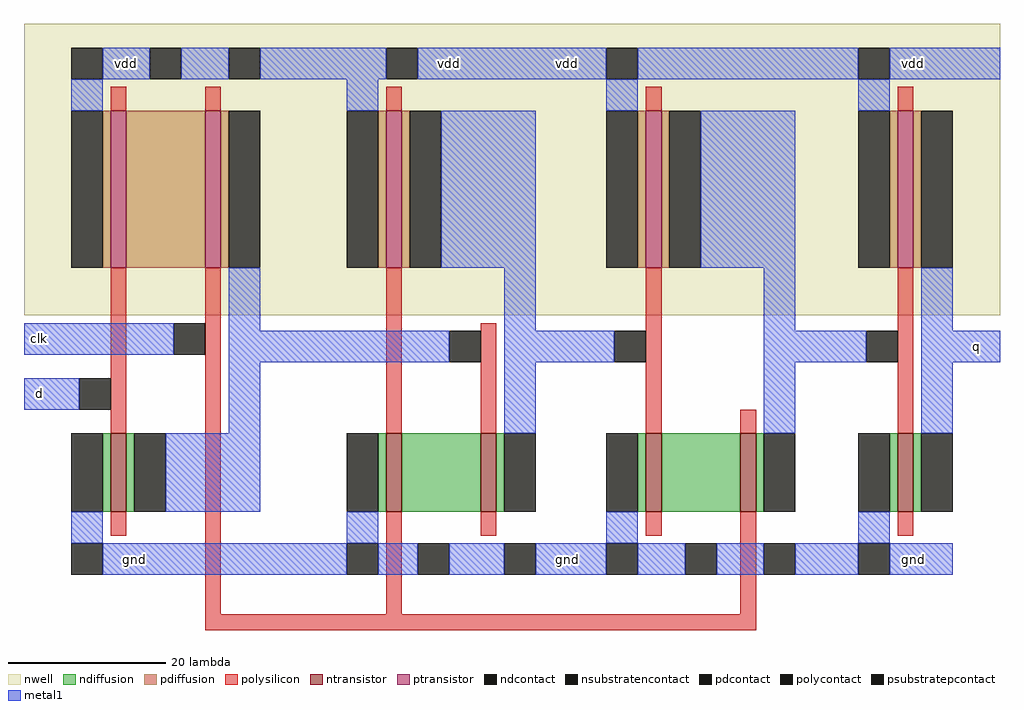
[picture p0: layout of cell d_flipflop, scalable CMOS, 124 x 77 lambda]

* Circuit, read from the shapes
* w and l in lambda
.subckt d_flipflop clk d gnd q vdd
M1 n1 d gnd gnd nfet w=10 l=2
M2 n2 clk gnd gnd nfet w=10 l=2
M3 n3 n1 n2 gnd nfet w=10 l=2
M4 n4 n3 gnd gnd nfet w=10 l=2
M5 n5 clk n4 gnd nfet w=10 l=2
M6 q n5 gnd gnd nfet w=10 l=2
M7 n6 d vdd vdd pfet w=20 l=2
M8 n1 clk n6 vdd pfet w=20 l=2
M9 n3 clk vdd vdd pfet w=20 l=2
M10 n5 n3 vdd vdd pfet w=20 l=2
M11 q n5 vdd vdd pfet w=20 l=2
.ends

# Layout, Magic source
magic
tech scmos
<< nwell >>
rect -21 -14 103 23
<< ntransistor >>
rect -10 -39 -8 -29
rect 25 -39 27 -29
rect 37 -39 39 -29
rect 58 -39 60 -29
rect 70 -39 72 -29
rect 90 -39 92 -29
<< ptransistor >>
rect -10 -8 -8 12
rect 2 -8 4 12
rect 25 -8 27 12
rect 58 -8 60 12
rect 90 -8 92 12
<< ndiffusion >>
rect -11 -39 -10 -29
rect -8 -39 -7 -29
rect 24 -39 25 -29
rect 27 -39 37 -29
rect 39 -39 40 -29
rect 57 -39 58 -29
rect 60 -39 70 -29
rect 72 -39 73 -29
rect 89 -39 90 -29
rect 92 -39 93 -29
<< pdiffusion >>
rect -11 -8 -10 12
rect -8 -8 2 12
rect 4 -8 5 12
rect 24 -8 25 12
rect 27 -8 28 12
rect 57 -8 58 12
rect 60 -8 61 12
rect 89 -8 90 12
rect 92 -8 93 12
<< ndcontact >>
rect -15 -39 -11 -29
rect -7 -39 -3 -29
rect 20 -39 24 -29
rect 40 -39 44 -29
rect 53 -39 57 -29
rect 73 -39 77 -29
rect 85 -39 89 -29
rect 93 -39 97 -29
<< pdcontact >>
rect -15 -8 -11 12
rect 5 -8 9 12
rect 20 -8 24 12
rect 28 -8 32 12
rect 53 -8 57 12
rect 61 -8 65 12
rect 85 -8 89 12
rect 93 -8 97 12
<< psubstratepcontact >>
rect -15 -47 -11 -43
rect 20 -47 24 -43
rect 29 -47 33 -43
rect 40 -47 44 -43
rect 53 -47 57 -43
rect 63 -47 67 -43
rect 73 -47 77 -43
rect 85 -47 89 -43
<< nsubstratencontact >>
rect -15 16 -11 20
rect -5 16 -1 20
rect 5 16 9 20
rect 25 16 29 20
rect 53 16 57 20
rect 85 16 89 20
<< polysilicon >>
rect -10 12 -8 15
rect 2 12 4 15
rect 25 12 27 15
rect 58 12 60 15
rect 90 12 92 15
rect -10 -29 -8 -8
rect -10 -42 -8 -39
rect 2 -52 4 -8
rect 25 -29 27 -8
rect 37 -29 39 -15
rect 58 -29 60 -8
rect 70 -29 72 -26
rect 90 -29 92 -8
rect 25 -52 27 -39
rect 37 -42 39 -39
rect 58 -42 60 -39
rect 70 -52 72 -39
rect 90 -42 92 -39
rect 2 -54 72 -52
<< polycontact >>
rect -14 -26 -10 -22
rect -2 -19 2 -15
rect 33 -20 37 -16
rect 54 -20 58 -16
rect 86 -20 90 -16
<< metal1 >>
rect -11 16 -5 20
rect -1 16 5 20
rect 9 16 25 20
rect 29 16 53 20
rect 57 16 85 20
rect 89 16 103 20
rect -15 12 -11 16
rect 20 12 24 16
rect 53 12 57 16
rect 85 12 89 16
rect 32 -8 44 12
rect 65 -8 77 12
rect -21 -19 -2 -15
rect 5 -16 9 -8
rect 40 -16 44 -8
rect 73 -16 77 -8
rect 93 -16 97 -8
rect 5 -20 33 -16
rect 40 -20 54 -16
rect 73 -20 86 -16
rect 93 -20 103 -16
rect -21 -26 -14 -22
rect 5 -29 9 -20
rect 40 -29 44 -20
rect 73 -29 77 -20
rect 93 -29 97 -20
rect -3 -39 9 -29
rect -15 -43 -11 -39
rect 20 -43 24 -39
rect 53 -43 57 -39
rect 85 -43 89 -39
rect -11 -47 20 -43
rect 24 -47 29 -43
rect 33 -47 40 -43
rect 44 -47 53 -43
rect 57 -47 63 -43
rect 67 -47 73 -43
rect 77 -47 85 -43
rect 89 -47 97 -43
<< labels >>
rlabel metal1 -20 -25 -18 -23 3 d
rlabel metal1 -20 -18 -18 -16 3 clk
rlabel metal1 99 -19 101 -17 7 q
rlabel metal1 47 -46 49 -44 1 gnd
rlabel metal1 47 17 49 19 5 vdd
rlabel metal1 32 17 34 19 5 vdd
rlabel metal1 -9 17 -7 19 5 vdd
rlabel metal1 -8 -46 -6 -44 1 gnd
rlabel metal1 91 -46 93 -44 1 gnd
rlabel metal1 91 17 93 19 5 vdd
<< end >>
